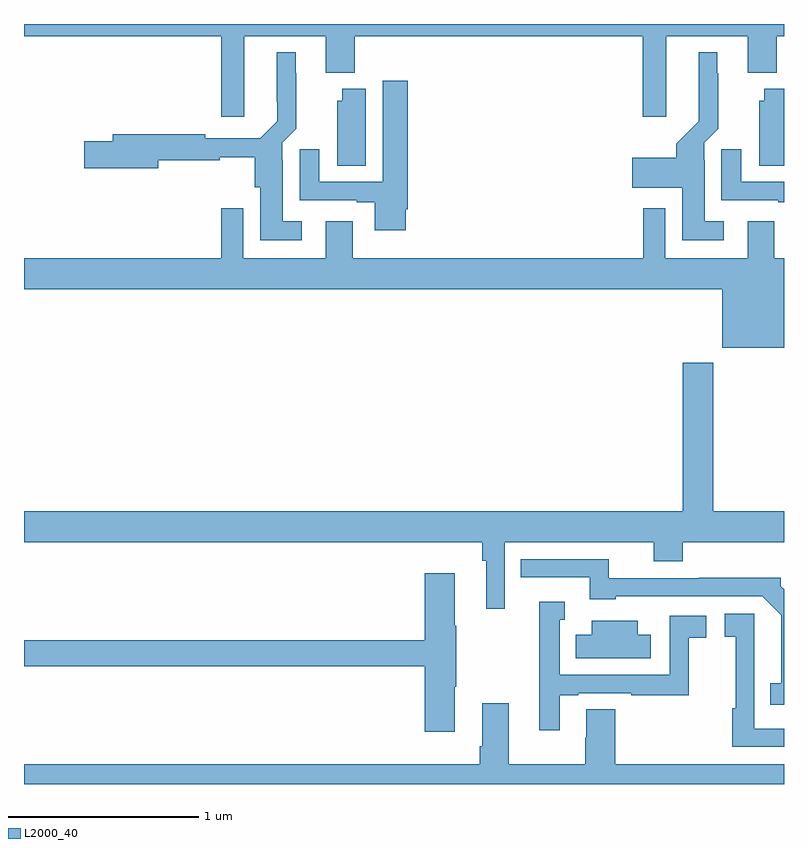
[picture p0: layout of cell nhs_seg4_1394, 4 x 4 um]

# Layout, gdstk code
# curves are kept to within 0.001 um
import gdstk
lib = gdstk.Library(unit=1e-6, precision=1e-09)
def P(c, l, *ps):  # polygons
    for p in ps: c.add(gdstk.Polygon(p, *l))
L2000_40 = (2000, 40)

nhs_seg4_1394 = lib.new_cell('nhs_seg4_1394')
P(nhs_seg4_1394, L2000_40, [(186.257,780.411),(186.379,780.411),(186.379,780.836),(186.809,780.836),(186.809,780.644),(186.962,780.644),(186.962,780.836),(187,780.836),(187,780.9),(183,780.9),(183,780.836),(184.037,780.836),(184.037,780.411),(184.159,780.411),(184.159,780.836),(184.589,780.836),(184.589,780.644),(184.742,780.644),(184.742,780.836),(186.257,780.836)],
  [(186.682,779.863),(186.583,779.863),(186.583,780.182),(186.579,780.182),(186.579,780.276),(186.653,780.35),(186.653,780.641),(186.649,780.641),(186.649,780.751),(186.551,780.751),(186.552,780.388),(186.434,780.27),(186.434,780.196),(186.201,780.196),(186.201,780.038),(186.464,780.038),(186.464,779.762),(186.682,779.762)],
  [(184.462,779.863),(184.363,779.863),(184.363,780.182),(184.359,780.182),(184.359,780.276),(184.433,780.35),(184.433,780.641),(184.429,780.641),(184.429,780.751),(184.331,780.751),(184.332,780.388),(184.244,780.3),(183.953,780.3),(183.953,780.32),(183.467,780.32),(183.467,780.284),(183.318,780.284),(183.318,780.142),(183.706,780.142),(183.706,780.184),(184.03,780.184),(184.03,780.199),(184.214,780.199),(184.214,780.042),(184.244,780.042),(184.244,779.762),(184.462,779.762)],
  [(185.008,779.926),(185.021,779.926),(185.021,780.601),(184.889,780.601),(184.889,780.069),(184.555,780.069),(184.555,780.241),(184.451,780.241),(184.451,779.973),(184.751,779.973),(184.751,779.961),(184.847,779.961),(184.847,779.814),(185.008,779.814)],
  [(184.798,780.559),(184.676,780.559),(184.676,780.495),(184.649,780.495),(184.649,780.154),(184.798,780.154)],
  [(187,780.559),(186.896,780.559),(186.896,780.495),(186.869,780.495),(186.869,780.154),(187,780.154)],
  [(187,780.069),(186.775,780.069),(186.775,780.241),(186.671,780.241),(186.671,779.973),(186.971,779.973),(186.971,779.961),(187,779.961)],
  [(187,779.668),(186.949,779.668),(186.949,779.863),(186.809,779.863),(186.809,779.668),(186.375,779.668),(186.375,779.929),(186.259,779.929),(186.259,779.668),(184.729,779.668),(184.729,779.863),(184.589,779.863),(184.589,779.668),(184.155,779.668),(184.155,779.929),(184.039,779.929),(184.039,779.668),(183,779.668),(183,779.504),(186.674,779.504),(186.674,779.195),(187,779.195)],
  [(185.529,778.172),(186.314,778.172),(186.314,778.073),(186.467,778.073),(186.467,778.172),(187,778.172),(187,778.336),(186.627,778.336),(186.627,779.116),(186.467,779.116),(186.467,778.336),(183,778.336),(183,778.172),(185.413,778.172),(185.413,778.076),(185.432,778.076),(185.432,777.822),(185.529,777.822)],
  [(187,777.925),(186.984,777.941),(186.984,777.986),(186.55,777.986),(186.55,777.984),(186.078,777.984),(186.078,778.083),(185.614,778.083),(185.614,777.987),(185.978,777.987),(185.978,777.872),(186.114,777.872),(186.114,777.888),(186.885,777.888),(186.986,777.787),(186.986,777.431),(186.928,777.431),(186.928,777.318),(187,777.318)],
  [(185.266,777.412),(185.274,777.412),(185.274,777.733),(185.266,777.733),(185.266,778.009),(185.108,778.009),(185.108,777.656),(183,777.656),(183,777.52),(185.108,777.52),(185.108,777.174),(185.266,777.174)],
  [(185.821,777.366),(185.917,777.366),(185.917,777.378),(186.196,777.378),(186.196,777.366),(186.498,777.366),(186.498,777.67),(186.592,777.67),(186.592,777.786),(186.399,777.786),(186.399,777.474),(185.82,777.474),(185.82,777.765),(185.845,777.765),(185.845,777.859),(185.712,777.859),(185.712,777.427),(185.711,777.427),(185.711,777.183),(185.821,777.183)],
  [(187,777.192),(186.843,777.192),(186.843,777.52),(186.844,777.52),(186.844,777.796),(186.687,777.796),(186.687,777.675),(186.745,777.675),(186.745,777.299),(186.727,777.299),(186.727,777.096),(187,777.096)],
  [(186.298,777.685),(186.229,777.685),(186.229,777.76),(185.987,777.76),(185.987,777.685),(185.905,777.685),(185.905,777.563),(186.298,777.563)],
  [(187,777.004),(186.113,777.004),(186.113,777.293),(185.96,777.293),(185.96,777.143),(185.953,777.143),(185.953,777.004),(185.551,777.004),(185.551,777.325),(185.411,777.325),(185.411,777.1),(185.399,777.1),(185.399,777.004),(183,777.004),(183,776.9),(187,776.9)])

lib.write_gds('nhs_seg4_1394.gds')
